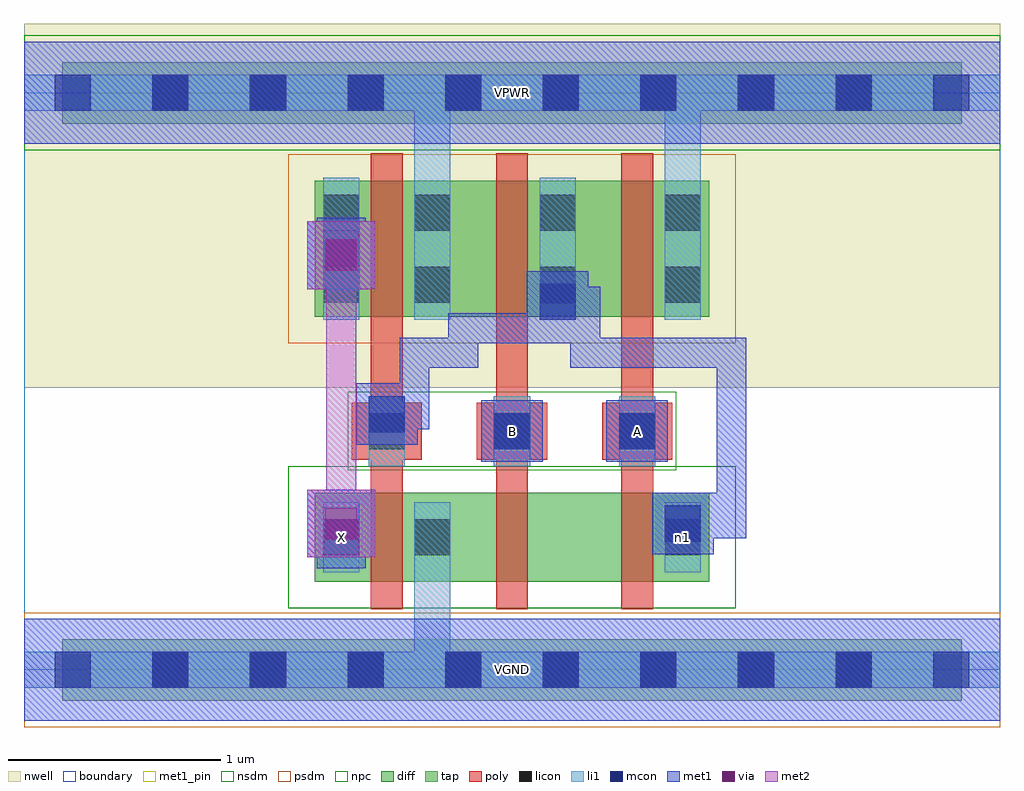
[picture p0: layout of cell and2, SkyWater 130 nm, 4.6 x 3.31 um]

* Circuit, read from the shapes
.subckt and2 A B VGND VPWR X n1
XM1 VGND n1 X VGND sky130_fd_pr__nfet_01v8 w=0.42 l=0.15
XM2 n2 B VGND VGND sky130_fd_pr__nfet_01v8 w=0.42 l=0.15
XM3 n1 A n2 VGND sky130_fd_pr__nfet_01v8 w=0.42 l=0.15
XM4 VPWR n1 X VPWR sky130_fd_pr__pfet_01v8 w=0.64 l=0.15
XM5 n1 B VPWR VPWR sky130_fd_pr__pfet_01v8 w=0.64 l=0.15
XM6 VPWR A n1 VPWR sky130_fd_pr__pfet_01v8 w=0.64 l=0.15
.ends

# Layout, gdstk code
import gdstk
lib = gdstk.Library(unit=1e-6, precision=1e-09)
def R(c, l, rs):  # rectangles x0, y0, x1, y1
    for r in rs: c.add(gdstk.rectangle(r[:2], r[2:], *l))
def A(c, l, x, y, w, h, nx, ny, dx, dy):  # array of equal rectangles
    R(c, l, [(x+i*dx, y+j*dy, x+i*dx+w, y+j*dy+h) for i in range(nx) for j in range(ny)])
nwell = (64, 20)
diff = (65, 20)
tap = (65, 44)
poly = (66, 20)
licon = (66, 44)
li1 = (67, 20)
mcon = (67, 44)
met1_pin = (68, 16)
met1 = (68, 20)
via = (68, 44)
met2 = (69, 20)
nsdm = (93, 44)
psdm = (94, 20)
npc = (95, 20)
boundary = (235, 4)

and2 = lib.new_cell('and2')
R(and2, nwell, [(0,1.33,4.6,3.045)])
R(and2, diff, [(1.37,0.415,3.23,0.835), (1.37,1.665,3.23,2.305)])
R(and2, tap, [(0.18,-0.145,4.42,0.145), (0.18,2.575,4.42,2.865)])
A(and2, poly, 1.635, 0.285, 0.15, 2.15, 3, 1, 0.59, 0)
A(and2, poly, 1.545, 0.99, 0.33, 0.27, 3, 1, 0.59, 0)
A(and2, licon, 0.605, -0.085, 0.17, 0.17, 8, 2, 0.46, 2.72)
A(and2, licon, 1.625, 1.04, 0.17, 0.17, 3, 1, 0.59, 0)
A(and2, licon, 1.84, 1.73, 0.17, 0.17, 3, 2, 0.59, 0.34)
R(and2, licon, [(1.41,0.54,1.58,0.71), (1.84,0.54,2.01,0.71), (3.02,0.54,3.19,0.71), (1.41,1.73,1.58,1.9), (1.41,2.07,1.58,2.24)])
A(and2, li1, 1.625, 0.96, 0.17, 0.33, 3, 1, 0.59, 0)
A(and2, li1, 1.84, 1.65, 0.17, 0.67, 3, 1, 0.59, 0)
R(and2, li1, [(0,-0.085,4.6,0.085), (1.84,-0.085,2.01,0.79), (1.41,0.46,1.58,0.79), (1.84,0.46,2.01,0.79), (3.02,0.46,3.19,0.79), (1.41,1.65,1.58,2.32), (1.84,1.65,2.01,2.805), (3.02,1.65,3.19,2.805), (0,2.635,4.6,2.805)])
A(and2, mcon, 0.145, -0.085, 0.17, 0.17, 10, 2, 0.46, 2.72)
R(and2, mcon, [(1.41,0.54,1.58,0.71), (3.02,0.605,3.19,0.775), (2.215,1.04,2.385,1.21), (2.805,1.04,2.975,1.21), (1.625,1.12,1.795,1.29), (2.43,1.65,2.6,1.82), (1.41,1.9,1.58,2.07)])
R(and2, met1_pin, [(0,-0.24,4.6,0.24), (1.38,0.48,1.61,0.77), (2.155,0.98,2.445,1.27), (2.745,0.98,3.035,1.27), (0,2.48,4.6,2.96)])
R(and2, met1, [(0,-0.24,4.6,0.24), (1.38,0.48,1.61,0.77), (1.335,0.53,1.655,0.85), (2.96,0.545,3.25,0.835), (1.425,0.62,1.565,0.76), (3.035,0.62,3.405,0.76), (3.25,0.62,3.265,0.835), (3.265,0.62,3.405,1.565), (2.155,0.98,2.445,1.27), (2.745,0.98,3.035,1.27), (1.565,1.06,1.855,1.35), (1.64,1.135,1.91,1.275), (1.77,1.135,1.91,1.45), (1.77,1.31,1.91,1.565), (1.77,1.425,2.14,1.565), (2,1.425,2.14,1.68), (2.575,1.425,3.405,1.565), (2.575,1.425,2.715,1.68), (2,1.54,2.715,1.68), (2.575,1.54,2.715,1.805), (2.37,1.59,2.66,1.88), (2.445,1.665,2.715,1.805), (1.335,1.795,1.655,2.115), (1.38,1.84,1.61,2.13), (1.425,1.885,1.565,2.025), (0,2.48,4.6,2.96)])
R(and2, via, [(1.42,0.615,1.57,0.765), (1.42,1.88,1.57,2.03)])
R(and2, met2, [(1.335,0.53,1.655,0.85), (1.425,0.62,1.565,2.025), (1.335,1.795,1.655,2.115)])
R(and2, nsdm, [(1.245,0.29,3.355,0.96), (0,2.45,4.6,2.99)])
R(and2, psdm, [(0,-0.27,4.6,0.27), (1.245,1.54,3.355,2.43)])
R(and2, npc, [(1.525,0.94,3.075,1.31)])
R(and2, boundary, [(0,0,4.6,2.72)])
and2.add(gdstk.Label('n1', (3.105,0.625), layer=67, texttype=5))
and2.add(gdstk.Label('A', (2.89,1.125), layer=68, texttype=5))
and2.add(gdstk.Label('B', (2.3,1.125), layer=68, texttype=5))
and2.add(gdstk.Label('X', (1.495,0.625), layer=68, texttype=5))
and2.add(gdstk.Label('VPWR', (2.3,2.72), layer=68, texttype=5))
and2.add(gdstk.Label('VGND', (2.3,0), layer=68, texttype=5))
and2.add(gdstk.Label('A', (2.89,1.125), layer=68, texttype=16))
and2.add(gdstk.Label('B', (2.3,1.125), layer=68, texttype=16))
and2.add(gdstk.Label('X', (1.495,0.625), layer=68, texttype=16))
and2.add(gdstk.Label('VPWR', (2.3,2.72), layer=68, texttype=16))
and2.add(gdstk.Label('VGND', (2.3,0), layer=68, texttype=16))

lib.write_gds('and2.gds')
